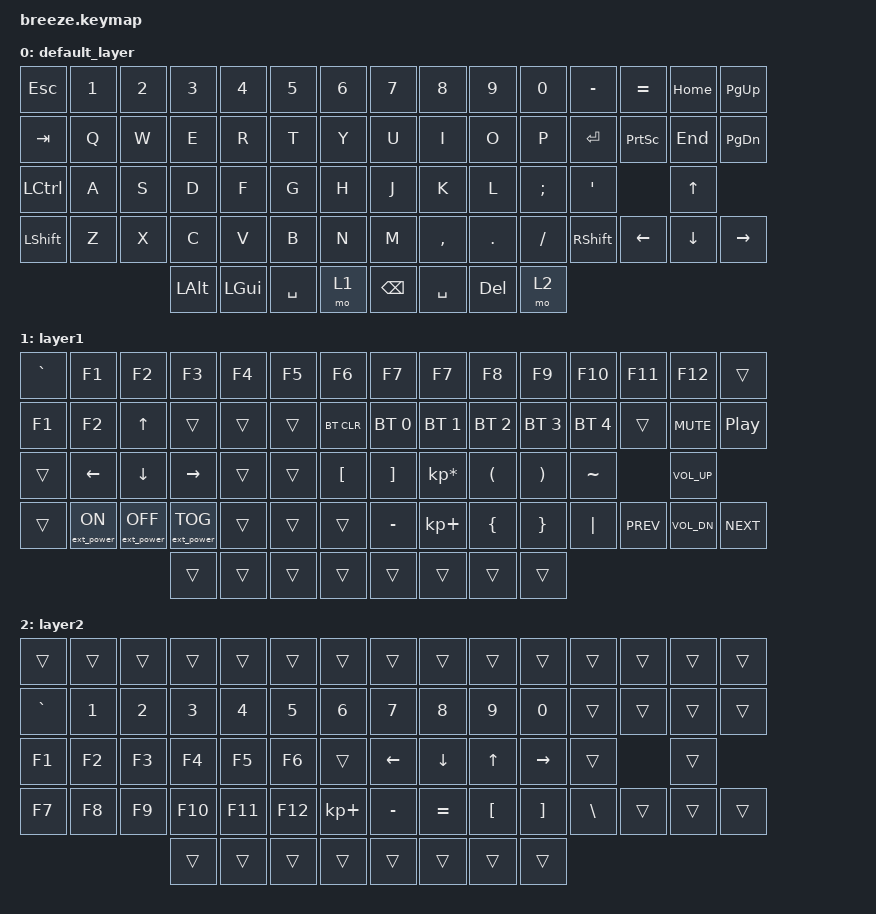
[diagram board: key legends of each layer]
/*
 * Copyright (c) 2020 The ZMK Contributors
 *
 * SPDX-License-Identifier: MIT
 */

#include <behaviors.dtsi>
#include <dt-bindings/zmk/keys.h>
#include <dt-bindings/zmk/bt.h>
#include <dt-bindings/zmk/ext_power.h>
#include <dt-bindings/zmk/outputs.h>

/ {
	keymap {
		compatible = "zmk,keymap";

		default_layer {

// Ref: https://zmkfirmware.dev/docs/codes/

// ----------------------------------------------------------------------------------------------------------------------------------
// |  ESC  |  1  |  2  |  3   |  4   |  5   |                   |  6   |  7    |  8    |  9   |   0   |   -   | |  =  | HOME | PGUP |
// |  TAB  |  Q  |  W  |  E   |  R   |  T   |                   |  Y   |  U    |  I    |  O   |   P   | ENTER | |PSCRN| END  | PGDN |
// |  CTRL |  A  |  S  |  D   |  F   |  G   |                   |  H   |  J    |  K    |  L   |   ;   |   '   | |     |  UP  |      |
// | SHIFT |  Z  |  X  |  C   |  V   |  B   |                   |  N   |  M    |  ,    |  .   |   /   | SHIFT | |  L  |  DN  |  R   |
//                     | ALT  | GUI  | SPACE|  LOWER |  |  BSPC | SPCE |  DEL  | RAISE |
			bindings = <
&kp ESC   &kp N1 &kp N2 &kp N3    &kp N4   &kp N5                       &kp N6   &kp N7   &kp N8    &kp N9  &kp N0   &kp MINUS  &kp EQUAL &kp HOME  &kp PG_UP
&kp TAB   &kp Q  &kp W  &kp E     &kp R    &kp T                        &kp Y    &kp U    &kp I     &kp O   &kp P    &kp RET    &kp PSCRN &kp END   &kp PG_DN
&kp LCTRL &kp A  &kp S  &kp D     &kp F    &kp G                        &kp H    &kp J    &kp K     &kp L   &kp SEMI &kp SQT              &kp UP 
&kp LSHFT &kp Z  &kp X  &kp C     &kp V    &kp B                        &kp N    &kp M    &kp COMMA &kp DOT &kp FSLH &kp RSHFT  &kp LEFT  &kp DOWN  &kp RIGHT
                        &kp LALT &kp LGUI &kp SPACE &mo 1 &kp BSPC &kp SPACE &kp DEL  &mo 2
			>;
		};

		layer1 {
// ---------------------------------------------------------------------------------------------------------------------------------- 
// |   `   | F1  | F2  |  F3  |  F4  |  F5  |                   |  F6  |  F7   |  F8   |  F9  |  F10  |  F11  | | F12  |      |      | 
// |       |     |  ^  |      |      |      |                   |BTCLR |  BT1  |  BT2  |  BT3 |  BT4  |  BT5  | |      | Mute | Play | 
// |       |  <- |  v  |  ->  |      |      |                   |  [   |  ]    |  *    |  (   |   )   |   ~   | |      | Vol+ |      | 
// |       |     |     |      |      |      |                   |      |  _    |  +    |  {   |   }   |  "|"  | | Prev | Vol- | Next | 
//                     |      |      |      |        |  |       |      |       |       |
			bindings = <
&kp GRAVE  &kp F1           &kp F2            &kp F3            &kp F4       &kp F5                       &kp F6      &kp F7       &kp F7          &kp F8       &kp F9       &kp F10      &kp F11    &kp F12       &trans    
&kp F1     &kp F2           &kp UP            &trans            &trans       &trans                       &bt BT_CLR  &bt BT_SEL 0 &bt BT_SEL 1    &bt BT_SEL 2 &bt BT_SEL 3 &bt BT_SEL 4 &trans     &kp C_MUTE    &kp C_PLAY_PAUSE 
&trans     &kp LEFT         &kp DOWN          &kp RIGHT         &trans       &trans                       &kp LBKT    &kp RBKT     &kp KP_MULTIPLY &kp LPAR     &kp RPAR     &kp TILDE               &kp C_VOL_UP 
&trans     &ext_power EP_ON &ext_power EP_OFF &ext_power EP_TOG &trans       &trans                       &trans      &kp MINUS    &kp KP_PLUS     &kp LBRC     &kp RBRC     &kp PIPE     &kp C_PREV &kp C_VOL_DN  &kp C_NEXT
                                              &trans            &trans       &trans    &trans   &trans    &trans      &trans       &trans
			>;
		};

		layer2 {
// ---------------------------------------------------------------------------------------------------------------------------------- 
// |       |     |     |      |      |      |                   |      |       |       |      |       |       | |     |      |      | 
// |   `   |  1  |  2  |  3   |  4   |  5   |                   |  6   |   7   |   8   |  9   |   0   |       | |     |      |      | 
// |   F1  |  F2 |  F3 |  F4  |  F5  |  F6  |                   |      |   <-  |   ^   |  v   |  ->   |       | |     |      |      | 
// |   F7  |  F8 |  F9 |  F10 |  F11 |  F12 |                   |  +   |   -   |   =   |  [   |   ]   |   \   | |     |      |      | 
//                     |      |      |      |        |  |       |      |       |       |
			bindings = <
&trans    &trans &trans &trans  &trans  &trans                       &trans      &trans    &trans    &trans   &trans    &trans    &trans    &trans    &trans 
&kp GRAVE &kp N1 &kp N2 &kp N3  &kp N4  &kp N5                       &kp N6      &kp N7    &kp N8    &kp N9   &kp N0    &trans    &trans    &trans    &trans 
&kp F1    &kp F2 &kp F3 &kp F4  &kp F5  &kp F6                       &trans      &kp LEFT  &kp DOWN  &kp UP   &kp RIGHT &trans              &trans           
&kp F7    &kp F8 &kp F9 &kp F10 &kp F11 &kp F12                      &kp KP_PLUS  &kp MINUS &kp EQUAL &kp LBKT &kp RBKT  &kp BSLH  &trans    &trans    &trans 
                        &trans  &trans  &trans    &trans   &trans    &trans      &trans    &trans
			>;
		};
	};
};
